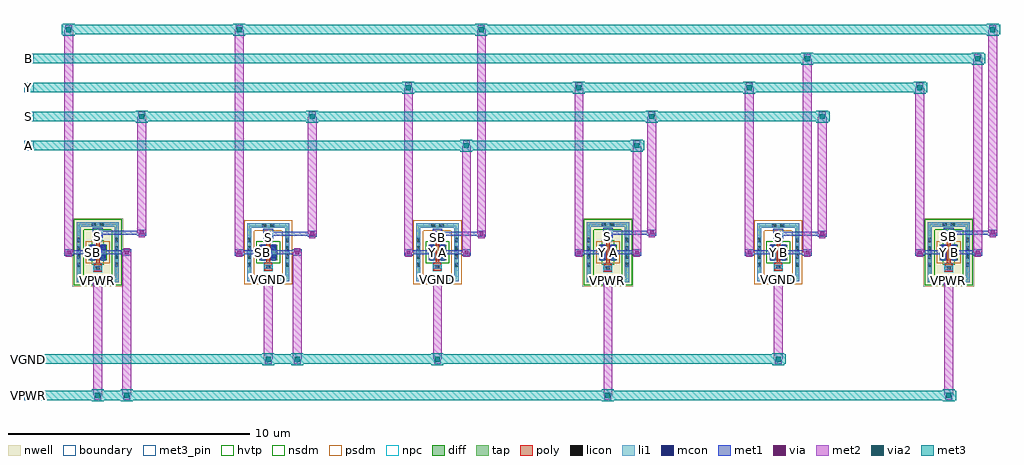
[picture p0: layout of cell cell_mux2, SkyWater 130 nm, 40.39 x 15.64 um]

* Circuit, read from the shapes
.subckt cell_mux2 A B S SB VGND VPWR Y
XM1 VGND S SB VGND sky130_fd_pr__nfet_01v8 w=0.65 l=0.15
XM2 A SB Y VGND sky130_fd_pr__nfet_01v8 w=0.65 l=0.15
XM3 B S Y VGND sky130_fd_pr__nfet_01v8 w=0.65 l=0.15
XM4 VPWR S SB VPWR sky130_fd_pr__pfet_01v8_hvt w=0.65 l=0.15
XM5 A S Y VPWR sky130_fd_pr__pfet_01v8_hvt w=0.65 l=0.15
XM6 B SB Y VPWR sky130_fd_pr__pfet_01v8_hvt w=0.65 l=0.15
.ends

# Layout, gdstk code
import gdstk
lib = gdstk.Library(unit=1e-6, precision=1e-09)
def R(c, l, rs):  # rectangles x0, y0, x1, y1
    for r in rs: c.add(gdstk.rectangle(r[:2], r[2:], *l))
def A(c, l, x, y, w, h, nx, ny, dx, dy):  # array of equal rectangles
    R(c, l, [(x+i*dx, y+j*dy, x+i*dx+w, y+j*dy+h) for i in range(nx) for j in range(ny)])
nwell = (64, 20)
diff = (65, 20)
tap = (65, 44)
poly = (66, 20)
licon = (66, 44)
li1 = (67, 20)
mcon = (67, 44)
met1 = (68, 20)
via = (68, 44)
met2 = (69, 20)
via2 = (69, 44)
met3_pin = (70, 16)
met3 = (70, 20)
hvtp = (78, 44)
nsdm = (93, 44)
psdm = (94, 20)
npc = (95, 20)
boundary = (235, 4)

cell_mux2 = lib.new_cell('cell_mux2')
R(cell_mux2, nwell, [(0,-1.42,2.11,1.42), (21.11,-1.42,23.22,1.42), (35.22,-1.42,37.33,1.42)])
A(cell_mux2, diff, 14.745, -0.325, 0.73, 0.65, 4, 1, 7.055, 0)
R(cell_mux2, diff, [(0.69,-0.325,1.42,0.325), (7.745,-0.325,8.475,0.325)])
R(cell_mux2, tap, [(0.18,-1.24,1.93,-1.07), (21.29,-1.24,23.04,-1.07), (35.4,-1.24,37.15,-1.07), (7.235,-1.195,8.985,-1.025), (14.235,-1.195,15.985,-1.025), (28.345,-1.195,30.095,-1.025), (0.18,-1.07,0.35,1.07), (1.76,-1.07,1.93,1.07), (21.29,-1.07,21.46,1.07), (22.87,-1.07,23.04,1.07), (35.4,-1.07,35.57,1.07), (36.98,-1.07,37.15,1.07), (7.235,-1.025,7.405,1.025), (8.815,-1.025,8.985,1.025), (14.235,-1.025,14.405,1.025), (15.815,-1.025,15.985,1.025), (28.345,-1.025,28.515,1.025), (29.925,-1.025,30.095,1.025), (7.235,1.025,8.985,1.195), (14.235,1.025,15.985,1.195), (28.345,1.025,30.095,1.195), (0.18,1.07,1.93,1.24), (21.29,1.07,23.04,1.24), (35.4,1.07,37.15,1.24)])
R(cell_mux2, poly, [(0.89,-0.81,1.22,-0.48), (22,-0.81,22.33,-0.48), (36.11,-0.81,36.44,-0.48), (7.945,-0.765,8.275,-0.435), (14.945,-0.765,15.275,-0.435), (29.055,-0.765,29.385,-0.435), (0.98,-0.48,1.13,0.48), (22.09,-0.48,22.24,0.48), (36.2,-0.48,36.35,0.48), (8.035,-0.435,8.185,0.435), (15.035,-0.435,15.185,0.435), (29.145,-0.435,29.295,0.435), (7.945,0.435,8.275,0.765), (14.945,0.435,15.275,0.765), (29.055,0.435,29.385,0.765), (0.89,0.48,1.22,0.81), (22,0.48,22.33,0.81), (36.11,0.48,36.44,0.81)])
A(cell_mux2, licon, 0.18, -0.595, 0.17, 0.17, 1, 4, 0, 0.34)
A(cell_mux2, licon, 1.76, -0.595, 0.17, 0.17, 1, 4, 0, 0.34)
A(cell_mux2, licon, 7.235, -0.595, 0.17, 0.17, 1, 4, 0, 0.34)
A(cell_mux2, licon, 8.815, -0.595, 0.17, 0.17, 1, 4, 0, 0.34)
A(cell_mux2, licon, 14.235, -0.595, 0.17, 0.17, 1, 4, 0, 0.34)
A(cell_mux2, licon, 15.815, -0.595, 0.17, 0.17, 1, 4, 0, 0.34)
A(cell_mux2, licon, 21.29, -0.595, 0.17, 0.17, 1, 4, 0, 0.34)
A(cell_mux2, licon, 22.87, -0.595, 0.17, 0.17, 1, 4, 0, 0.34)
A(cell_mux2, licon, 28.345, -0.595, 0.17, 0.17, 1, 4, 0, 0.34)
A(cell_mux2, licon, 29.925, -0.595, 0.17, 0.17, 1, 4, 0, 0.34)
A(cell_mux2, licon, 35.4, -0.595, 0.17, 0.17, 1, 4, 0, 0.34)
A(cell_mux2, licon, 36.98, -0.595, 0.17, 0.17, 1, 4, 0, 0.34)
R(cell_mux2, licon, [(0.8,-1.24,0.97,-1.07), (1.14,-1.24,1.31,-1.07), (21.91,-1.24,22.08,-1.07), (22.25,-1.24,22.42,-1.07), (36.02,-1.24,36.19,-1.07), (36.36,-1.24,36.53,-1.07), (7.855,-1.195,8.025,-1.025), (8.195,-1.195,8.365,-1.025), (14.855,-1.195,15.025,-1.025), (15.195,-1.195,15.365,-1.025), (28.965,-1.195,29.135,-1.025), (29.305,-1.195,29.475,-1.025), (0.97,-0.73,1.14,-0.56), (22.08,-0.73,22.25,-0.56), (36.19,-0.73,36.36,-0.56), (8.025,-0.685,8.195,-0.515), (15.025,-0.685,15.195,-0.515), (29.135,-0.685,29.305,-0.515), (0.75,-0.255,0.92,-0.085), (1.19,-0.255,1.36,-0.085), (7.805,-0.255,7.975,-0.085), (8.245,-0.255,8.415,-0.085), (14.805,-0.255,14.975,-0.085), (15.245,-0.255,15.415,-0.085), (21.86,-0.255,22.03,-0.085), (22.3,-0.255,22.47,-0.085), (28.915,-0.255,29.085,-0.085), (29.355,-0.255,29.525,-0.085), (35.97,-0.255,36.14,-0.085), (36.41,-0.255,36.58,-0.085), (0.75,0.085,0.92,0.255), (1.19,0.085,1.36,0.255), (7.805,0.085,7.975,0.255), (8.245,0.085,8.415,0.255), (14.805,0.085,14.975,0.255), (15.245,0.085,15.415,0.255), (21.86,0.085,22.03,0.255), (22.3,0.085,22.47,0.255), (28.915,0.085,29.085,0.255), (29.355,0.085,29.525,0.255), (35.97,0.085,36.14,0.255), (36.41,0.085,36.58,0.255), (8.025,0.515,8.195,0.685), (15.025,0.515,15.195,0.685), (29.135,0.515,29.305,0.685), (0.97,0.56,1.14,0.73), (22.08,0.56,22.25,0.73), (36.19,0.56,36.36,0.73), (7.855,1.025,8.025,1.195), (8.195,1.025,8.365,1.195), (14.855,1.025,15.025,1.195), (15.195,1.025,15.365,1.195), (28.965,1.025,29.135,1.195), (29.305,1.025,29.475,1.195), (0.8,1.07,0.97,1.24), (1.14,1.07,1.31,1.24), (21.91,1.07,22.08,1.24), (22.25,1.07,22.42,1.24), (36.02,1.07,36.19,1.24), (36.36,1.07,36.53,1.24)])
R(cell_mux2, li1, [(0.18,-1.24,1.93,-1.07), (21.29,-1.24,23.04,-1.07), (35.4,-1.24,37.15,-1.07), (7.235,-1.195,8.985,-1.025), (14.235,-1.195,15.985,-1.025), (28.345,-1.195,30.095,-1.025), (0.18,-1.07,0.35,1.07), (1.76,-1.07,1.93,1.07), (21.29,-1.07,21.46,1.07), (22.87,-1.07,23.04,1.07), (35.4,-1.07,35.57,1.07), (36.98,-1.07,37.15,1.07), (7.235,-1.025,7.405,1.025), (8.815,-1.025,8.985,1.025), (14.235,-1.025,14.405,1.025), (15.815,-1.025,15.985,1.025), (28.345,-1.025,28.515,1.025), (29.925,-1.025,30.095,1.025), (0.89,-0.73,1.22,-0.56), (22,-0.73,22.33,-0.56), (36.11,-0.73,36.44,-0.56), (7.945,-0.685,8.275,-0.515), (14.945,-0.685,15.275,-0.515), (29.055,-0.685,29.385,-0.515), (0.75,-0.345,0.92,0.345), (1.19,-0.345,1.36,0.345), (7.805,-0.345,7.975,0.345), (8.245,-0.345,8.415,0.345), (14.805,-0.345,14.975,0.345), (15.245,-0.345,15.415,0.345), (21.86,-0.345,22.03,0.345), (22.3,-0.345,22.47,0.345), (28.915,-0.345,29.085,0.345), (29.355,-0.345,29.525,0.345), (35.97,-0.345,36.14,0.345), (36.41,-0.345,36.58,0.345), (7.945,0.515,8.275,0.685), (8.025,0.515,8.195,0.855), (14.945,0.515,15.275,0.685), (15.025,0.515,15.195,0.855), (29.055,0.515,29.385,0.685), (29.135,0.515,29.305,0.855), (0.89,0.56,1.22,0.73), (0.97,0.56,1.14,0.9), (22,0.56,22.33,0.73), (22.08,0.56,22.25,0.9), (36.11,0.56,36.44,0.73), (36.19,0.56,36.36,0.9), (7.235,1.025,8.985,1.195), (14.235,1.025,15.985,1.195), (28.345,1.025,30.095,1.195), (0.18,1.07,1.93,1.24), (21.29,1.07,23.04,1.24), (35.4,1.07,37.15,1.24)])
R(cell_mux2, mcon, [(0.97,-1.24,1.14,-1.07), (22.08,-1.24,22.25,-1.07), (36.19,-1.24,36.36,-1.07), (8.025,-1.195,8.195,-1.025), (15.025,-1.195,15.195,-1.025), (29.135,-1.195,29.305,-1.025), (0.75,-0.265,0.92,-0.095), (1.19,-0.265,1.36,-0.095), (7.805,-0.265,7.975,-0.095), (8.245,-0.265,8.415,-0.095), (14.805,-0.265,14.975,-0.095), (15.245,-0.265,15.415,-0.095), (21.86,-0.265,22.03,-0.095), (22.3,-0.265,22.47,-0.095), (28.915,-0.265,29.085,-0.095), (29.355,-0.265,29.525,-0.095), (35.97,-0.265,36.14,-0.095), (36.41,-0.265,36.58,-0.095), (0.75,0.095,0.92,0.265), (1.19,0.095,1.36,0.265), (7.805,0.095,7.975,0.265), (8.245,0.095,8.415,0.265), (14.805,0.095,14.975,0.265), (15.245,0.095,15.415,0.265), (21.86,0.095,22.03,0.265), (22.3,0.095,22.47,0.265), (28.915,0.095,29.085,0.265), (29.355,0.095,29.525,0.265), (35.97,0.095,36.14,0.265), (36.41,0.095,36.58,0.265), (8.025,0.685,8.195,0.855), (15.025,0.685,15.195,0.855), (29.135,0.685,29.305,0.855), (0.97,0.73,1.14,0.9), (22.08,0.73,22.25,0.9), (36.19,0.73,36.36,0.9)])
R(cell_mux2, met1, [(0.855,-1.355,1.255,-0.955), (21.965,-1.355,22.365,-0.955), (36.075,-1.355,36.475,-0.955), (7.91,-1.31,8.31,-0.91), (14.91,-1.31,15.31,-0.91), (29.02,-1.31,29.42,-0.91), (0.875,-1.285,1.235,-1.025), (21.985,-1.285,22.345,-1.025), (36.095,-1.285,36.455,-1.025), (7.93,-1.24,8.29,-0.98), (14.93,-1.24,15.29,-0.98), (29.04,-1.24,29.4,-0.98), (0.72,-0.325,0.95,0.325), (1.16,-0.325,1.39,0.325), (7.775,-0.325,8.005,0.325), (8.215,-0.325,8.445,0.325), (14.775,-0.325,15.005,0.325), (15.215,-0.325,15.445,0.325), (21.83,-0.325,22.06,0.325), (22.27,-0.325,22.5,0.325), (28.885,-0.325,29.115,0.325), (29.325,-0.325,29.555,0.325), (35.94,-0.325,36.17,0.325), (36.38,-0.325,36.61,0.325), (-0.325,-0.13,0.035,0.13), (2.075,-0.13,2.435,0.13), (6.73,-0.13,7.09,0.13), (9.13,-0.13,9.49,0.13), (13.73,-0.13,14.09,0.13), (16.13,-0.13,16.49,0.13), (20.785,-0.13,21.145,0.13), (23.185,-0.13,23.545,0.13), (27.84,-0.13,28.2,0.13), (30.24,-0.13,30.6,0.13), (34.895,-0.13,35.255,0.13), (37.295,-0.13,37.655,0.13), (7.91,0.57,8.31,0.97), (14.91,0.57,15.31,0.97), (29.02,0.57,29.42,0.97), (0.855,0.615,1.255,1.015), (21.965,0.615,22.365,1.015), (36.075,0.615,36.475,1.015), (9.75,0.64,10.11,0.9), (16.75,0.64,17.11,0.9), (30.86,0.64,31.22,0.9), (2.695,0.685,3.055,0.945), (23.805,0.685,24.165,0.945), (37.915,0.685,38.275,0.945)])
R(cell_mux2, via, [(0.98,-1.23,1.13,-1.08), (22.09,-1.23,22.24,-1.08), (36.2,-1.23,36.35,-1.08), (8.035,-1.185,8.185,-1.035), (15.035,-1.185,15.185,-1.035), (29.145,-1.185,29.295,-1.035), (-0.22,-0.075,-0.07,0.075), (2.18,-0.075,2.33,0.075), (6.835,-0.075,6.985,0.075), (9.235,-0.075,9.385,0.075), (13.835,-0.075,13.985,0.075), (16.235,-0.075,16.385,0.075), (20.89,-0.075,21.04,0.075), (23.29,-0.075,23.44,0.075), (27.945,-0.075,28.095,0.075), (30.345,-0.075,30.495,0.075), (35,-0.075,35.15,0.075), (37.4,-0.075,37.55,0.075), (9.855,0.695,10.005,0.845), (16.855,0.695,17.005,0.845), (30.965,0.695,31.115,0.845), (2.8,0.74,2.95,0.89), (23.91,0.74,24.06,0.89), (38.02,0.74,38.17,0.89)])
A(cell_mux2, met2, 13.77, 6.63, 0.28, 0.38, 4, 1, 7.055, 0)
R(cell_mux2, met2, [(0.915,-6.11,1.195,-5.73), (2.115,-6.11,2.395,-5.73), (22.025,-6.11,22.305,-5.73), (36.135,-6.11,36.415,-5.73), (7.97,-4.61,8.25,-4.23), (9.17,-4.61,9.45,-4.23), (14.97,-4.61,15.25,-4.23), (29.08,-4.61,29.36,-4.23), (0.925,-1.335,1.185,-0.975), (22.035,-1.335,22.295,-0.975), (36.145,-1.335,36.405,-0.975), (7.98,-1.29,8.24,-0.93), (14.98,-1.29,15.24,-0.93), (29.09,-1.29,29.35,-0.93), (-0.275,-0.18,-0.015,0.18), (2.125,-0.18,2.385,0.18), (6.78,-0.18,7.04,0.18), (9.18,-0.18,9.44,0.18), (13.78,-0.18,14.04,0.18), (16.18,-0.18,16.44,0.18), (20.835,-0.18,21.095,0.18), (23.235,-0.18,23.495,0.18), (27.89,-0.18,28.15,0.18), (30.29,-0.18,30.55,0.18), (34.945,-0.18,35.205,0.18), (37.345,-0.18,37.605,0.18), (9.8,0.59,10.06,0.95), (16.8,0.59,17.06,0.95), (30.91,0.59,31.17,0.95), (2.745,0.635,3.005,0.995), (23.855,0.635,24.115,0.995), (37.965,0.635,38.225,0.995), (16.17,4.23,16.45,4.61), (23.225,4.23,23.505,4.61), (2.735,5.43,3.015,5.81), (9.79,5.43,10.07,5.81), (23.845,5.43,24.125,5.81), (30.9,5.43,31.18,5.81), (30.28,7.83,30.56,8.21), (37.335,7.83,37.615,8.21), (-0.285,9.03,-0.005,9.41), (6.77,9.03,7.05,9.41), (16.79,9.03,17.07,9.41), (37.955,9.03,38.235,9.41)])
A(cell_mux2, via2, 13.81, 6.72, 0.2, 0.2, 4, 1, 7.055, 0)
R(cell_mux2, via2, [(0.955,-6.02,1.155,-5.82), (2.155,-6.02,2.355,-5.82), (22.065,-6.02,22.265,-5.82), (36.175,-6.02,36.375,-5.82), (8.01,-4.52,8.21,-4.32), (9.21,-4.52,9.41,-4.32), (15.01,-4.52,15.21,-4.32), (29.12,-4.52,29.32,-4.32), (16.21,4.32,16.41,4.52), (23.265,4.32,23.465,4.52), (2.775,5.52,2.975,5.72), (9.83,5.52,10.03,5.72), (23.885,5.52,24.085,5.72), (30.94,5.52,31.14,5.72), (30.32,7.92,30.52,8.12), (37.375,7.92,37.575,8.12), (-0.245,9.12,-0.045,9.32), (6.81,9.12,7.01,9.32), (16.83,9.12,17.03,9.32), (37.995,9.12,38.195,9.32)])
A(cell_mux2, met3_pin, -2, 4.22, 0.4, 0.4, 1, 4, 0, 1.2)
R(cell_mux2, met3_pin, [(-2,-6.12,-1.6,-5.72), (-2,-4.62,-1.6,-4.22)])
A(cell_mux2, met3, 13.66, 6.57, 0.5, 0.5, 4, 1, 7.055, 0)
R(cell_mux2, met3, [(0.805,-6.17,1.305,-5.67), (2.005,-6.17,2.505,-5.67), (21.915,-6.17,22.415,-5.67), (36.025,-6.17,36.525,-5.67), (7.86,-4.67,8.36,-4.17), (9.06,-4.67,9.56,-4.17), (14.86,-4.67,15.36,-4.17), (28.97,-4.67,29.47,-4.17), (16.06,4.17,16.56,4.67), (23.115,4.17,23.615,4.67), (2.625,5.37,3.125,5.87), (9.68,5.37,10.18,5.87), (23.735,5.37,24.235,5.87), (30.79,5.37,31.29,5.87), (30.17,7.77,30.67,8.27), (37.225,7.77,37.725,8.27), (-0.395,8.97,0.105,9.47), (6.66,8.97,7.16,9.47), (16.68,8.97,17.18,9.47), (37.845,8.97,38.345,9.47)])
R(cell_mux2, hvtp, [(0.8,-0.505,1.31,0.505), (21.91,-0.505,22.42,0.505), (36.02,-0.505,36.53,0.505)])
R(cell_mux2, nsdm, [(0.055,-1.365,2.055,-0.945), (21.165,-1.365,23.165,-0.945), (35.275,-1.365,37.275,-0.945), (0.055,-0.945,0.475,0.945), (1.635,-0.945,2.055,0.945), (21.165,-0.945,21.585,0.945), (22.745,-0.945,23.165,0.945), (35.275,-0.945,35.695,0.945), (36.855,-0.945,37.275,0.945), (7.62,-0.45,8.6,0.45), (14.62,-0.45,15.6,0.45), (28.73,-0.45,29.71,0.45), (0.055,0.945,2.055,1.365), (21.165,0.945,23.165,1.365), (35.275,0.945,37.275,1.365)])
R(cell_mux2, psdm, [(7.11,-1.32,9.11,-0.9), (14.11,-1.32,16.11,-0.9), (28.22,-1.32,30.22,-0.9), (7.11,-0.9,7.53,0.9), (8.69,-0.9,9.11,0.9), (14.11,-0.9,14.53,0.9), (15.69,-0.9,16.11,0.9), (28.22,-0.9,28.64,0.9), (29.8,-0.9,30.22,0.9), (0.565,-0.45,1.545,0.45), (21.675,-0.45,22.655,0.45), (35.785,-0.45,36.765,0.45), (7.11,0.9,9.11,1.32), (14.11,0.9,16.11,1.32), (28.22,0.9,30.22,1.32)])
R(cell_mux2, npc, [(0.87,-0.83,1.24,-0.46), (21.98,-0.83,22.35,-0.46), (36.09,-0.83,36.46,-0.46), (7.925,-0.785,8.295,-0.415), (14.925,-0.785,15.295,-0.415), (29.035,-0.785,29.405,-0.415), (7.925,0.415,8.295,0.785), (14.925,0.415,15.295,0.785), (29.035,0.415,29.405,0.785), (0.87,0.46,1.24,0.83), (21.98,0.46,22.35,0.83), (36.09,0.46,36.46,0.83)])
R(cell_mux2, boundary, [(0.265,-1.155,1.845,1.155), (21.375,-1.155,22.955,1.155), (35.485,-1.155,37.065,1.155), (7.32,-1.11,8.9,1.11), (14.32,-1.11,15.9,1.11), (28.43,-1.11,30.01,1.11)])
cell_mux2.add(gdstk.FlexPath([(14.89,0),(13.91,0)], 0.17, ends="flush", simple_path=True, layer=68, datatype=20))  # met1
cell_mux2.add(gdstk.FlexPath([(21.945,0),(20.965,0)], 0.17, ends="flush", simple_path=True, layer=68, datatype=20))  # met1
cell_mux2.add(gdstk.FlexPath([(8.11,-1.11),(8.11,-1.11)], 0.17, ends="flush", simple_path=True, layer=68, datatype=20))  # met1
cell_mux2.add(gdstk.FlexPath([(8.33,0),(9.31,0)], 0.17, ends="flush", simple_path=True, layer=68, datatype=20))  # met1
cell_mux2.add(gdstk.FlexPath([(8.11,0.77),(9.93,0.77)], 0.17, ends="flush", simple_path=True, layer=68, datatype=20))  # met1
cell_mux2.add(gdstk.FlexPath([(22.165,-1.155),(22.165,-1.155)], 0.17, ends="flush", simple_path=True, layer=68, datatype=20))  # met1
cell_mux2.add(gdstk.FlexPath([(7.89,0),(6.91,0)], 0.17, ends="flush", simple_path=True, layer=68, datatype=20))  # met1
cell_mux2.add(gdstk.FlexPath([(22.385,0),(23.365,0)], 0.17, ends="flush", simple_path=True, layer=68, datatype=20))  # met1
cell_mux2.add(gdstk.FlexPath([(15.11,-1.11),(15.11,-1.11)], 0.17, ends="flush", simple_path=True, layer=68, datatype=20))  # met1
cell_mux2.add(gdstk.FlexPath([(15.11,0.77),(16.93,0.77)], 0.17, ends="flush", simple_path=True, layer=68, datatype=20))  # met1
cell_mux2.add(gdstk.FlexPath([(1.055,0.815),(2.875,0.815)], 0.17, ends="flush", simple_path=True, layer=68, datatype=20))  # met1
cell_mux2.add(gdstk.FlexPath([(36.275,-1.155),(36.275,-1.155)], 0.17, ends="flush", simple_path=True, layer=68, datatype=20))  # met1
cell_mux2.add(gdstk.FlexPath([(36.495,0),(37.475,0)], 0.17, ends="flush", simple_path=True, layer=68, datatype=20))  # met1
cell_mux2.add(gdstk.FlexPath([(36.275,0.815),(38.095,0.815)], 0.17, ends="flush", simple_path=True, layer=68, datatype=20))  # met1
cell_mux2.add(gdstk.FlexPath([(36.055,0),(35.075,0)], 0.17, ends="flush", simple_path=True, layer=68, datatype=20))  # met1
cell_mux2.add(gdstk.FlexPath([(29.22,-1.11),(29.22,-1.11)], 0.17, ends="flush", simple_path=True, layer=68, datatype=20))  # met1
cell_mux2.add(gdstk.FlexPath([(1.055,-1.155),(1.055,-1.155)], 0.17, ends="flush", simple_path=True, layer=68, datatype=20))  # met1
cell_mux2.add(gdstk.FlexPath([(29.44,0),(30.42,0)], 0.17, ends="flush", simple_path=True, layer=68, datatype=20))  # met1
cell_mux2.add(gdstk.FlexPath([(29,0),(28.02,0)], 0.17, ends="flush", simple_path=True, layer=68, datatype=20))  # met1
cell_mux2.add(gdstk.FlexPath([(0.835,0),(-0.145,0)], 0.17, ends="flush", simple_path=True, layer=68, datatype=20))  # met1
cell_mux2.add(gdstk.FlexPath([(15.33,0),(16.31,0)], 0.17, ends="flush", simple_path=True, layer=68, datatype=20))  # met1
cell_mux2.add(gdstk.FlexPath([(29.22,0.77),(31.04,0.77)], 0.17, ends="flush", simple_path=True, layer=68, datatype=20))  # met1
cell_mux2.add(gdstk.FlexPath([(22.165,0.815),(23.985,0.815)], 0.17, ends="flush", simple_path=True, layer=68, datatype=20))  # met1
cell_mux2.add(gdstk.FlexPath([(1.275,0),(2.255,0)], 0.17, ends="flush", simple_path=True, layer=68, datatype=20))  # met1
cell_mux2.add(gdstk.FlexPath([(15.11,-1.11),(15.11,-4.42)], 0.36, ends="flush", simple_path=True, layer=69, datatype=20))  # met2
cell_mux2.add(gdstk.FlexPath([(16.31,0),(16.31,4.42)], 0.36, ends="flush", simple_path=True, layer=69, datatype=20))  # met2
cell_mux2.add(gdstk.FlexPath([(8.11,-1.11),(8.11,-4.42)], 0.36, ends="flush", simple_path=True, layer=69, datatype=20))  # met2
cell_mux2.add(gdstk.FlexPath([(36.275,-1.155),(36.275,-5.92)], 0.36, ends="flush", simple_path=True, layer=69, datatype=20))  # met2
cell_mux2.add(gdstk.FlexPath([(9.31,0),(9.31,-4.42)], 0.36, ends="flush", simple_path=True, layer=69, datatype=20))  # met2
cell_mux2.add(gdstk.FlexPath([(2.875,0.815),(2.875,5.62)], 0.36, ends="flush", simple_path=True, layer=69, datatype=20))  # met2
cell_mux2.add(gdstk.FlexPath([(20.965,0),(20.965,6.82)], 0.36, ends="flush", simple_path=True, layer=69, datatype=20))  # met2
cell_mux2.add(gdstk.FlexPath([(23.365,0),(23.365,4.42)], 0.36, ends="flush", simple_path=True, layer=69, datatype=20))  # met2
cell_mux2.add(gdstk.FlexPath([(28.02,0),(28.02,6.82)], 0.36, ends="flush", simple_path=True, layer=69, datatype=20))  # met2
cell_mux2.add(gdstk.FlexPath([(9.93,0.77),(9.93,5.62)], 0.36, ends="flush", simple_path=True, layer=69, datatype=20))  # met2
cell_mux2.add(gdstk.FlexPath([(38.095,0.815),(38.095,9.22)], 0.36, ends="flush", simple_path=True, layer=69, datatype=20))  # met2
cell_mux2.add(gdstk.FlexPath([(29.22,-1.11),(29.22,-4.42)], 0.36, ends="flush", simple_path=True, layer=69, datatype=20))  # met2
cell_mux2.add(gdstk.FlexPath([(30.42,0),(30.42,8.02)], 0.36, ends="flush", simple_path=True, layer=69, datatype=20))  # met2
cell_mux2.add(gdstk.FlexPath([(22.165,-1.155),(22.165,-5.92)], 0.36, ends="flush", simple_path=True, layer=69, datatype=20))  # met2
cell_mux2.add(gdstk.FlexPath([(31.04,0.77),(31.04,5.62)], 0.36, ends="flush", simple_path=True, layer=69, datatype=20))  # met2
cell_mux2.add(gdstk.FlexPath([(13.91,0),(13.91,6.82)], 0.36, ends="flush", simple_path=True, layer=69, datatype=20))  # met2
cell_mux2.add(gdstk.FlexPath([(35.075,0),(35.075,6.82)], 0.36, ends="flush", simple_path=True, layer=69, datatype=20))  # met2
cell_mux2.add(gdstk.FlexPath([(37.475,0),(37.475,8.02)], 0.36, ends="flush", simple_path=True, layer=69, datatype=20))  # met2
cell_mux2.add(gdstk.FlexPath([(23.985,0.815),(23.985,5.62)], 0.36, ends="flush", simple_path=True, layer=69, datatype=20))  # met2
cell_mux2.add(gdstk.FlexPath([(-0.145,0),(-0.145,9.22)], 0.36, ends="flush", simple_path=True, layer=69, datatype=20))  # met2
cell_mux2.add(gdstk.FlexPath([(2.255,0),(2.255,-5.92)], 0.36, ends="flush", simple_path=True, layer=69, datatype=20))  # met2
cell_mux2.add(gdstk.FlexPath([(16.93,0.77),(16.93,9.22)], 0.36, ends="flush", simple_path=True, layer=69, datatype=20))  # met2
cell_mux2.add(gdstk.FlexPath([(1.055,-1.155),(1.055,-5.92)], 0.36, ends="flush", simple_path=True, layer=69, datatype=20))  # met2
cell_mux2.add(gdstk.FlexPath([(6.91,0),(6.91,9.22)], 0.36, ends="flush", simple_path=True, layer=69, datatype=20))  # met2
cell_mux2.add(gdstk.FlexPath([(-1.8,4.42),(23.665,4.42)], 0.4, ends="flush", simple_path=True, layer=70, datatype=20))  # met3
cell_mux2.add(gdstk.FlexPath([(-1.8,-5.92),(36.575,-5.92)], 0.4, ends="flush", simple_path=True, layer=70, datatype=20))  # met3
cell_mux2.add(gdstk.FlexPath([(-1.8,5.62),(31.34,5.62)], 0.4, ends="flush", simple_path=True, layer=70, datatype=20))  # met3
cell_mux2.add(gdstk.FlexPath([(-1.8,8.02),(37.775,8.02)], 0.4, ends="flush", simple_path=True, layer=70, datatype=20))  # met3
cell_mux2.add(gdstk.FlexPath([(-1.8,6.82),(35.375,6.82)], 0.4, ends="flush", simple_path=True, layer=70, datatype=20))  # met3
cell_mux2.add(gdstk.FlexPath([(-0.445,9.22),(38.395,9.22)], 0.4, ends="flush", simple_path=True, layer=70, datatype=20))  # met3
cell_mux2.add(gdstk.FlexPath([(-1.8,-4.42),(29.52,-4.42)], 0.4, ends="flush", simple_path=True, layer=70, datatype=20))  # met3
cell_mux2.add(gdstk.Label('A', (15.33,0), layer=67, texttype=5))
cell_mux2.add(gdstk.Label('SB', (15.11,0.6), layer=67, texttype=5))
cell_mux2.add(gdstk.Label('Y', (14.89,0), layer=67, texttype=5))
cell_mux2.add(gdstk.Label('S', (29.22,0.6), layer=67, texttype=5))
cell_mux2.add(gdstk.Label('S', (8.11,0.6), layer=67, texttype=5))
cell_mux2.add(gdstk.Label('SB', (7.89,0), layer=67, texttype=5))
cell_mux2.add(gdstk.Label('B', (29.44,0), layer=67, texttype=5))
cell_mux2.add(gdstk.Label('VGND', (15.11,-1.11), layer=67, texttype=5))
cell_mux2.add(gdstk.Label('B', (36.495,0), layer=67, texttype=5))
cell_mux2.add(gdstk.Label('VGND', (8.11,-1.11), layer=67, texttype=5))
cell_mux2.add(gdstk.Label('VGND', (8.33,0), layer=67, texttype=5))
cell_mux2.add(gdstk.Label('VPWR', (36.275,-1.155), layer=67, texttype=5))
cell_mux2.add(gdstk.Label('Y', (36.055,0), layer=67, texttype=5))
cell_mux2.add(gdstk.Label('Y', (29,0), layer=67, texttype=5))
cell_mux2.add(gdstk.Label('VGND', (29.22,-1.11), layer=67, texttype=5))
cell_mux2.add(gdstk.Label('SB', (36.275,0.645), layer=67, texttype=5))
cell_mux2.add(gdstk.Label('S', (22.165,0.645), layer=67, texttype=5))
cell_mux2.add(gdstk.Label('A', (22.385,0), layer=67, texttype=5))
cell_mux2.add(gdstk.Label('Y', (21.945,0), layer=67, texttype=5))
cell_mux2.add(gdstk.Label('SB', (0.835,0), layer=67, texttype=5))
cell_mux2.add(gdstk.Label('VPWR', (1.055,-1.155), layer=67, texttype=5))
cell_mux2.add(gdstk.Label('VPWR', (1.275,0), layer=67, texttype=5))
cell_mux2.add(gdstk.Label('VPWR', (22.165,-1.155), layer=67, texttype=5))
cell_mux2.add(gdstk.Label('S', (1.055,0.645), layer=67, texttype=5))
cell_mux2.add(gdstk.Label('A', (-1.8,4.42), layer=70, texttype=5))
cell_mux2.add(gdstk.Label('S', (-1.8,5.62), layer=70, texttype=5))
cell_mux2.add(gdstk.Label('Y', (-1.8,6.82), layer=70, texttype=5))
cell_mux2.add(gdstk.Label('B', (-1.8,8.02), layer=70, texttype=5))
cell_mux2.add(gdstk.Label('VGND', (-1.8,-4.42), layer=70, texttype=5))
cell_mux2.add(gdstk.Label('VPWR', (-1.8,-5.92), layer=70, texttype=5))

lib.write_gds('cell_mux2.gds')
